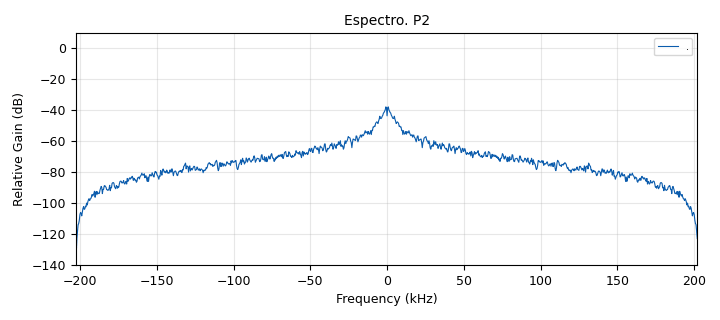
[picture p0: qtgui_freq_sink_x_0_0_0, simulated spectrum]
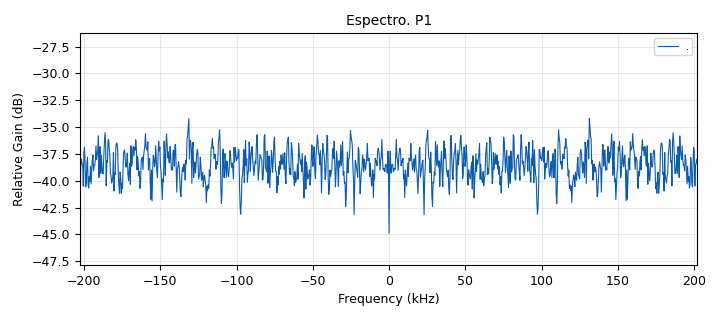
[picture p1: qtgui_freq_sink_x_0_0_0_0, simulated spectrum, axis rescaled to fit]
<?xml version='1.0' encoding='utf-8'?>
<?grc format='1' created='3.7.13'?>
<flow_graph>
<block>
<key>options</key>
<param><key>id</key><value>top_block</value></param>
<param><key>generate_options</key><value>qt_gui</value></param>
<param><key>run</key><value>run_stop</value></param>
</block>
<block>
<key>variable</key>
<param><key>id</key><value>Ap</value></param>
<param><key>value</key><value>1.</value></param>
</block>
<block>
<key>variable</key>
<param><key>id</key><value>BW</value></param>
<param><key>value</key><value>2*DeltaF+2*BWm</value></param>
</block>
<block>
<key>variable</key>
<param><key>id</key><value>BWm</value></param>
<param><key>value</key><value>samp_rate_audio/2.</value></param>
</block>
<block>
<key>variable</key>
<param><key>id</key><value>D</value></param>
<param><key>value</key><value>15.</value></param>
</block>
<block>
<key>variable</key>
<param><key>id</key><value>DeltaF</value></param>
<param><key>value</key><value>D*BWm</value></param>
</block>
<block>
<key>variable</key>
<param><key>id</key><value>Kf</value></param>
<param><key>value</key><value>DeltaF/Ap</value></param>
</block>
<block>
<key>variable_qtgui_range</key>
<param><key>id</key><value>Tau</value></param>
<param><key>value</key><value>75e-6</value></param>
<param><key>gui_hint</key><value>0,0,1,1</value></param>
<param><key>label</key><value>Tau</value></param>
<param><key>orient</key><value>Qt.Horizontal</value></param>
<param><key>start</key><value>0</value></param>
<param><key>step</key><value>1e-4/500.</value></param>
<param><key>stop</key><value>1e-4</value></param>
</block>
<block>
<key>variable_qtgui_range</key>
<param><key>id</key><value>delay</value></param>
<param><key>value</key><value>0</value></param>
<param><key>gui_hint</key><value>0,1,1,1</value></param>
<param><key>label</key><value>cuadrar retraso entre mensajes</value></param>
<param><key>orient</key><value>Qt.Horizontal</value></param>
<param><key>start</key><value>0</value></param>
<param><key>step</key><value>1</value></param>
<param><key>stop</key><value>100</value></param>
</block>
<block>
<key>variable_qtgui_check_box</key>
<param><key>id</key><value>run_stop</value></param>
<param><key>value</key><value>True</value></param>
<param><key>false</key><value>False</value></param>
<param><key>gui_hint</key><value>0,2,1,1</value></param>
<param><key>label</key><value>Inicial/Parar</value></param>
<param><key>true</key><value>True</value></param>
<param><key>type</key><value>int</value></param>
</block>
<block>
<key>variable</key>
<param><key>id</key><value>samp_rate</value></param>
<param><key>value</key><value>int(BW*2.3)</value></param>
</block>
<block>
<key>variable</key>
<param><key>id</key><value>samp_rate_audio</value></param>
<param><key>value</key><value>11000</value></param>
</block>
<block>
<key>analog_fm_deemph</key>
<param><key>id</key><value>analog_fm_deemph_0</value></param>
<param><key>samp_rate</key><value>samp_rate</value></param>
<param><key>tau</key><value>75e-6</value></param>
</block>
<block>
<key>analog_fm_preemph</key>
<param><key>id</key><value>analog_fm_preemph_0</value></param>
<param><key>_enabled</key><value>0</value></param>
<param><key>fh</key><value>-1</value></param>
<param><key>samp_rate</key><value>samp_rate</value></param>
<param><key>tau</key><value>75e-6</value></param>
</block>
<block>
<key>analog_noise_source_x</key>
<param><key>id</key><value>analog_noise_source_x_0</value></param>
<param><key>amp</key><value>1</value></param>
<param><key>noise_type</key><value>analog.GR_GAUSSIAN</value></param>
<param><key>type</key><value>float</value></param>
<param><key>seed</key><value>0</value></param>
</block>
<block>
<key>b_PSD</key>
<param><key>id</key><value>b_PSD_0</value></param>
<param><key>Amp</key><value>1</value></param>
<param><key>samp_rate_audio</key><value>samp_rate</value></param>
<param><key>gui_hint</key><value>5,0,1,1</value></param>
<param><key>N</key><value>1024</value></param>
<param><key>Ensayos</key><value>1000000</value></param>
<param><key>Titulo</key><value>'PSD. P1'</value></param>
<param><key>Ymax</key><value>0.3</value></param>
</block>
<block>
<key>b_PSD</key>
<param><key>id</key><value>b_PSD_0_0</value></param>
<param><key>Amp</key><value>1</value></param>
<param><key>samp_rate_audio</key><value>samp_rate</value></param>
<param><key>gui_hint</key><value>5,1,1,1</value></param>
<param><key>N</key><value>1024</value></param>
<param><key>Ensayos</key><value>1000000</value></param>
<param><key>Titulo</key><value>'PSD. P2'</value></param>
<param><key>Ymax</key><value>3e-6</value></param>
</block>
<block>
<key>qtgui_freq_sink_x</key>
<param><key>id</key><value>qtgui_freq_sink_x_0_0_0</value></param>
<param><key>average</key><value>0.05</value></param>
<param><key>bw</key><value>samp_rate</value></param>
<param><key>fc</key><value>0</value></param>
<param><key>fftsize</key><value>1024</value></param>
<param><key>gui_hint</key><value>6,1,1,1</value></param>
<param><key>label1</key><value>.</value></param>
<param><key>width1</key><value>3</value></param>
<param><key>name</key><value>'Espectro. P2'</value></param>
<param><key>showports</key><value>True</value></param>
<param><key>type</key><value>float</value></param>
<param><key>wintype</key><value>firdes.WIN_BLACKMAN_hARRIS</value></param>
</block>
<block>
<key>qtgui_freq_sink_x</key>
<param><key>id</key><value>qtgui_freq_sink_x_0_0_0_0</value></param>
<param><key>average</key><value>0.05</value></param>
<param><key>bw</key><value>samp_rate</value></param>
<param><key>fc</key><value>0</value></param>
<param><key>fftsize</key><value>1024</value></param>
<param><key>gui_hint</key><value>6,0,1,1</value></param>
<param><key>label1</key><value>.</value></param>
<param><key>width1</key><value>3</value></param>
<param><key>name</key><value>'Espectro. P1'</value></param>
<param><key>showports</key><value>True</value></param>
<param><key>type</key><value>float</value></param>
<param><key>wintype</key><value>firdes.WIN_BLACKMAN_hARRIS</value></param>
</block>
<block>
<key>virtual_sink</key>
<param><key>id</key><value>virtual_sink_0</value></param>
<param><key>stream_id</key><value>P1</value></param>
</block>
<block>
<key>virtual_sink</key>
<param><key>id</key><value>virtual_sink_0_0</value></param>
<param><key>stream_id</key><value>P2</value></param>
</block>
<block>
<key>virtual_source</key>
<param><key>id</key><value>virtual_source_0</value></param>
<param><key>stream_id</key><value>P1</value></param>
</block>
<block>
<key>virtual_source</key>
<param><key>id</key><value>virtual_source_0_0</value></param>
<param><key>stream_id</key><value>P2</value></param>
</block>
<connection><source_block_id>analog_fm_deemph_0</source_block_id><sink_block_id>virtual_sink_0_0</sink_block_id><source_key>0</source_key><sink_key>0</sink_key></connection>
<connection><source_block_id>analog_fm_preemph_0</source_block_id><sink_block_id>analog_fm_deemph_0</sink_block_id><source_key>0</source_key><sink_key>0</sink_key></connection>
<connection><source_block_id>analog_fm_preemph_0</source_block_id><sink_block_id>virtual_sink_0</sink_block_id><source_key>0</source_key><sink_key>0</sink_key></connection>
<connection><source_block_id>analog_noise_source_x_0</source_block_id><sink_block_id>analog_fm_deemph_0</sink_block_id><source_key>0</source_key><sink_key>0</sink_key></connection>
<connection><source_block_id>analog_noise_source_x_0</source_block_id><sink_block_id>analog_fm_preemph_0</sink_block_id><source_key>0</source_key><sink_key>0</sink_key></connection>
<connection><source_block_id>analog_noise_source_x_0</source_block_id><sink_block_id>virtual_sink_0</sink_block_id><source_key>0</source_key><sink_key>0</sink_key></connection>
<connection><source_block_id>virtual_source_0</source_block_id><sink_block_id>b_PSD_0</sink_block_id><source_key>0</source_key><sink_key>0</sink_key></connection>
<connection><source_block_id>virtual_source_0</source_block_id><sink_block_id>qtgui_freq_sink_x_0_0_0_0</sink_block_id><source_key>0</source_key><sink_key>0</sink_key></connection>
<connection><source_block_id>virtual_source_0_0</source_block_id><sink_block_id>b_PSD_0_0</sink_block_id><source_key>0</source_key><sink_key>0</sink_key></connection>
<connection><source_block_id>virtual_source_0_0</source_block_id><sink_block_id>qtgui_freq_sink_x_0_0_0</sink_block_id><source_key>0</source_key><sink_key>0</sink_key></connection>
</flow_graph>
